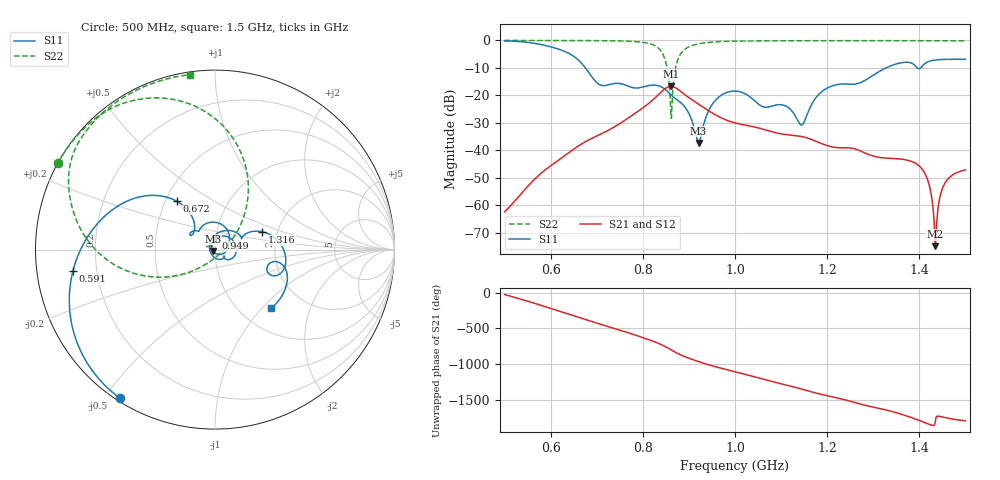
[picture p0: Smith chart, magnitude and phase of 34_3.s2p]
! TOUCHSTONE file generated by CST MICROWAVE STUDIO
! Date and time: Fri Oct  2 16:35:25 2020
! Project name: Scenario_1_Free_Space_out_of_line.cst
! Parameters = {Lambda=346.42; Step_1=17.321; dy1=-224.613; dx1=520; L_HA=400; MT=2.54; Rad_Dielectric=30; Rad_Lower=7.3; Rad_Upper=30; a_HA=580; a_WG=246; b_HA=500; b_WG=121; c_HA=0; c_WG=187; d_feed=85; h_feed=15; h_lower=18; h_upper=40}
! Header version: 2018
! Port assignment regex: !\s*Touchstone port\s*([0-9]+)\s*=\s*(CST MWS port|CST DS port)\s*([0-9]+|Zmin|Zmax)\s*\(\"(.*)\"\)(\s*mode\s*([0-9]+))?.*
! Touchstone port assignment:
! Touchstone port 1 = CST MWS port 1 ("")
! Touchstone port 2 = CST MWS port 2 ("")
# GHz S DB R 50
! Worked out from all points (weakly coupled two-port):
!   1003 points, 500 MHz to 1.5 GHz, reference 50 ohm
!   highest |S21| = -16.71 dB at 861 MHz (marker M1); lowest = -74.9 dB at 1.435 GHz (marker M2)
!   lowest |S11| = -37.3 dB at 921 MHz (marker M3), VSWR 1.03, Z = 48.9 - j0.745 ohm
!   |S11| at or under -10 dB: 675.3 MHz to 1.328 GHz (652.4 MHz wide, 65.1 % of centre); 1.395697 GHz to 1.402692 GHz (6.996 MHz wide, 0.5 % of centre)
!   |S22| runs from -28.4 to 0.0 dB; largest |S21 - S12| = 5.1e-05
!   S11 on the Smith chart (normalised r, x): 500 MHz: 0.01, -0.55; 591 MHz: 0.11, -0.07; 672 MHz: 0.57, +0.35; 949 MHz: 1.00, +0.13; 1.316 GHz: 1.66, +0.36; 1.5 GHz: 1.38, -1.13
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0.5  -0.15 -122.5  -62.37 -28.0  -62.37 -28.0  -0.01 151.1
0.591  -1.94 -171.5  -46.78 156.2  -46.77 156.2  -0.02 144.7
0.667  -8.32 131.5  -37.70 -0.2  -37.70 -0.2  -0.04 138.3
0.672  -9.30 128.3  -37.19 -10.9  -37.19 -10.9  -0.05 137.8
0.71  -16.37 141.2  -34.00 -89.2  -34.00 -89.2  -0.08 133.6
0.789  -17.31 130.5  -25.88 113.6  -25.88 113.6  -0.50 118.1
0.834  -16.50 83.2  -19.72 8.8  -19.72 8.8  -2.81 89.4
0.849  -17.90 56.6  -17.48 -37.4  -17.48 -37.4  -7.43 64.3
0.861  -19.80 38.0  -16.71 -81.0  -16.71 -81.0  -27.81 -15.4
0.88  -22.34 10.7  -18.26 -145.6  -18.26 -145.6  -5.50 -168.5
0.921  -37.31 -146.0  -23.21 114.2  -23.21 114.2  -1.24 159.2
0.949  -23.70 84.3  -26.25 58.2  -26.25 58.2  -0.62 150.5
1  -18.44 -0.1  -30.03 -26.9  -30.03 -26.9  -0.27 140.7
1.144  -30.80 -162.2  -34.96 90.7  -34.96 90.7  -0.11 126.2
1.167  -23.09 99.1  -36.11 49.1  -36.11 49.1  -0.10 124.3
1.316  -11.03 20.8  -42.65 176.0  -42.65 176.0  -0.09 112.9
1.334  -9.52 12.1  -42.91 148.0  -42.91 148.0  -0.09 111.6
1.407  -9.25 -11.1  -47.04 -6.3  -47.04 -6.3  -0.11 105.9
1.422  -7.56 -17.5  -53.04 -44.7  -53.04 -44.7  -0.11 104.7
1.435  -7.12 -24.3  -74.92 9.2  -74.52 7.0  -0.11 103.6
1.455  -6.90 -32.6  -52.15 52.1  -52.24 51.7  -0.12 102.0
1.5  -6.87 -46.1  -47.16 6.9  -47.25 6.7  -0.14 98.1
